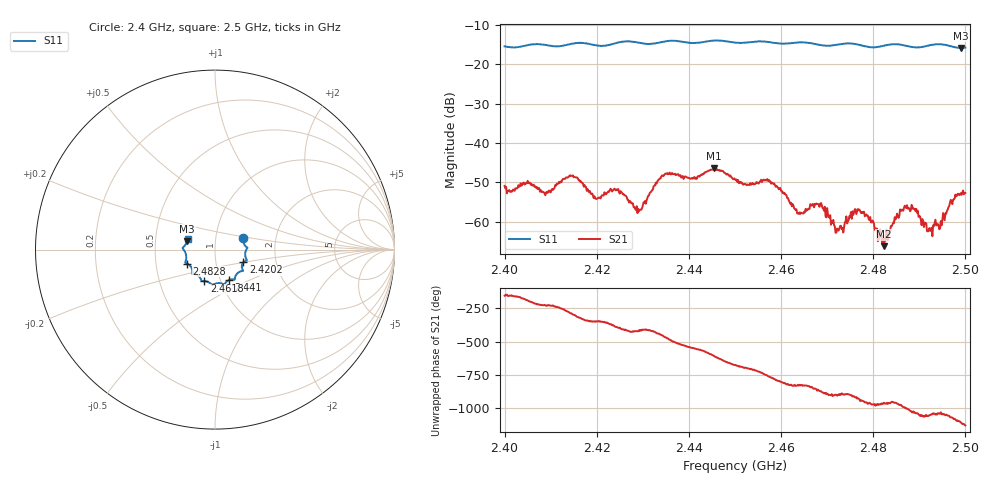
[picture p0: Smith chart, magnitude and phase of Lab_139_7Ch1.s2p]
# Hz S RI R 50
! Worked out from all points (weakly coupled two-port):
!   601 points, 2.4 GHz to 2.5 GHz, reference 50 ohm
!   highest |S21| = -46.42 dB at 2.4455 GHz (marker M1); lowest = -66.2 dB at 2.4823 GHz (marker M2)
!   lowest |S11| = -15.8 dB at 2.499 GHz (marker M3), VSWR 1.39, Z = 36.5 + j3.48 ohm
!   |S11| at or under -10 dB: start of sweep to end of sweep
!   S12 and S22 are empty: the file has one direction only
!   S11 on the Smith chart (normalised r, x): 2.4 GHz: 1.36, +0.18; 2.4202 GHz: 1.36, -0.20; 2.441 GHz: 1.10, -0.39; 2.4618 GHz: 0.84, -0.31; 2.4828 GHz: 0.72, -0.12; 2.5 GHz: 0.73, +0.09
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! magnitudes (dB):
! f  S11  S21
! 2.4 GHz  -15.4  -50.9
! 2.4167 GHz  -14.5  -50.0
! 2.4202 GHz  -15.2  -54.1
! 2.4242 GHz  -14.6  -52.0
! 2.4293 GHz  -14.5  -57.0
! 2.4333 GHz  -14.5  -49.4
! 2.441 GHz  -14.6  -48.9
! 2.4455 GHz  -13.9  -46.4
! 2.45 GHz  -14.5  -49.2
! 2.4572 GHz  -14.3  -49.6
! 2.4618 GHz  -14.6  -55.0
! 2.464 GHz  -14.4  -57.6
! 2.4667 GHz  -14.6  -55.9
! 2.4722 GHz  -15.0  -61.7
! 2.4775 GHz  -15.2  -57.5
! 2.4823 GHz  -15.2  -66.2
! 2.4828 GHz  -15.1  -62.1
! 2.4833 GHz  -15.0  -63.1
! 2.4872 GHz  -15.3  -56.5
! 2.4923 GHz  -15.1  -62.2
! 2.499 GHz  -15.8  -52.7
! 2.5 GHz  -15.7  -52.7
